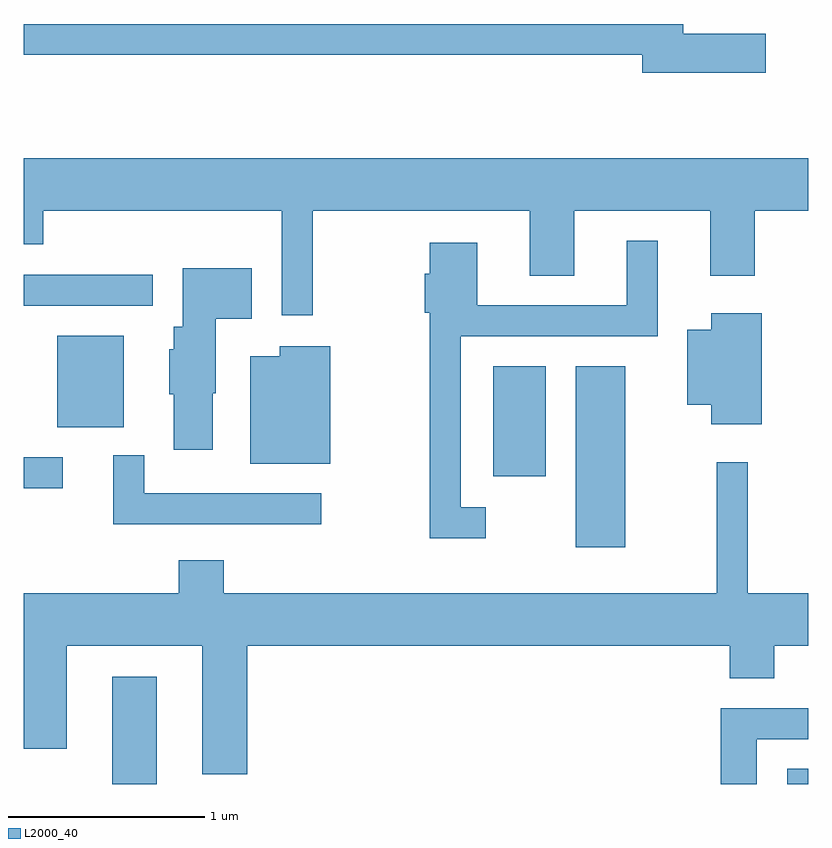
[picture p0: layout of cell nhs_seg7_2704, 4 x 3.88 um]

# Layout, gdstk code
import gdstk
lib = gdstk.Library(unit=1e-6, precision=1e-09)
def R(c, l, rs):  # rectangles x0, y0, x1, y1
    for r in rs: c.add(gdstk.rectangle(r[:2], r[2:], *l))
def P(c, l, *ps):  # polygons
    for p in ps: c.add(gdstk.Polygon(p, *l))
L2000_40 = (2000, 40)

nhs_seg7_2704 = lib.new_cell('nhs_seg7_2704')
R(nhs_seg7_2704, L2000_40, [(268.061,1740.252,268.289,1740.799), (271.506,1740.252,271.611,1740.329), (270.426,1741.461,270.679,1742.384), (267.611,1741.761,267.808,1741.919), (270.006,1741.821,270.274,1742.384), (267.781,1742.071,268.119,1742.539), (267.611,1742.691,268.268,1742.849)])
P(nhs_seg7_2704, L2000_40, [(271.394,1744.079),(270.974,1744.079),(270.974,1744.129),(267.611,1744.129),(267.611,1743.971),(270.766,1743.971),(270.766,1743.881),(271.394,1743.881)],
  [(269.084,1743.176),(270.191,1743.176),(270.191,1742.846),(270.419,1742.846),(270.419,1743.176),(271.111,1743.176),(271.111,1742.846),(271.339,1742.846),(271.339,1743.176),(271.611,1743.176),(271.611,1743.444),(267.611,1743.444),(267.611,1743.006),(267.709,1743.006),(267.709,1743.176),(268.926,1743.176),(268.926,1742.643),(269.084,1742.643)],
  [(269.968,1741.664),(269.839,1741.664),(269.839,1742.536),(270.844,1742.536),(270.844,1743.023),(270.686,1743.023),(270.686,1742.694),(269.924,1742.694),(269.924,1743.014),(269.681,1743.014),(269.681,1742.854),(269.656,1742.854),(269.656,1742.656),(269.681,1742.656),(269.681,1741.506),(269.968,1741.506)],
  [(268.574,1742.245),(268.589,1742.245),(268.589,1742.626),(268.774,1742.626),(268.774,1742.884),(268.421,1742.884),(268.421,1742.584),(268.376,1742.584),(268.376,1742.469),(268.351,1742.469),(268.351,1742.241),(268.376,1742.241),(268.376,1741.956),(268.574,1741.956)],
  [(271.374,1742.654),(271.116,1742.654),(271.116,1742.569),(270.996,1742.569),(270.996,1742.186),(271.116,1742.186),(271.116,1742.086),(271.374,1742.086)],
  [(269.174,1742.484),(268.916,1742.484),(268.916,1742.434),(268.766,1742.434),(268.766,1741.886),(269.174,1741.886)],
  [(269.128,1741.734),(268.224,1741.734),(268.224,1741.928),(268.066,1741.928),(268.066,1741.576),(269.128,1741.576)],
  [(268.749,1740.956),(271.211,1740.956),(271.211,1740.791),(271.439,1740.791),(271.439,1740.956),(271.611,1740.956),(271.611,1741.224),(271.304,1741.224),(271.304,1741.893),(271.146,1741.893),(271.146,1741.224),(268.629,1741.224),(268.629,1741.394),(268.401,1741.394),(268.401,1741.224),(267.611,1741.224),(267.611,1740.431),(267.829,1740.431),(267.829,1740.956),(268.521,1740.956),(268.521,1740.301),(268.749,1740.301)],
  [(271.349,1740.481),(271.611,1740.481),(271.611,1740.639),(271.166,1740.639),(271.166,1740.252),(271.349,1740.252)])

lib.write_gds('nhs_seg7_2704.gds')
